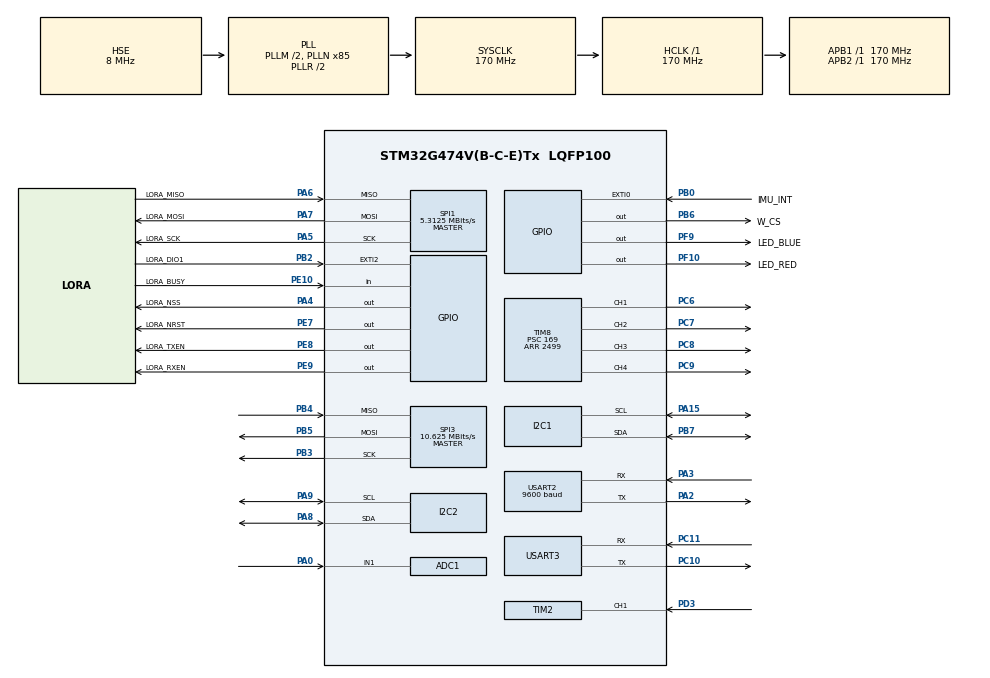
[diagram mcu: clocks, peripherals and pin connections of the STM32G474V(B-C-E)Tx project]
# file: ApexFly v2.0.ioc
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ADC1.Channel-0\#ChannelRegularConversion=ADC_CHANNEL_1
ADC1.NbrOfConversionFlag=1
ADC1.OffsetNumber-0\#ChannelRegularConversion=ADC_OFFSET_NONE
ADC1.Rank-0\#ChannelRegularConversion=1
ADC1.SamplingTime-0\#ChannelRegularConversion=ADC_SAMPLETIME_2CYCLES_5
ADC1.master=1
Dma.Request0=USART2_RX
Dma.USART2_RX.0.Direction=DMA_PERIPH_TO_MEMORY
Dma.USART2_RX.0.EventEnable=DISABLE
Dma.USART2_RX.0.Instance=DMA1_Channel1
Dma.USART2_RX.0.MemDataAlignment=DMA_MDATAALIGN_BYTE
Dma.USART2_RX.0.MemInc=DMA_MINC_ENABLE
Dma.USART2_RX.0.Mode=DMA_CIRCULAR
Dma.USART2_RX.0.PeriphDataAlignment=DMA_PDATAALIGN_BYTE
Dma.USART2_RX.0.PeriphInc=DMA_PINC_DISABLE
Dma.USART2_RX.0.Polarity=HAL_DMAMUX_REQ_GEN_RISING
Dma.USART2_RX.0.Priority=DMA_PRIORITY_HIGH
Dma.USART2_RX.0.RequestNumber=1
Dma.USART2_RX.0.SignalID=NONE
Dma.USART2_RX.0.SyncEnable=DISABLE
Dma.USART2_RX.0.SyncPolarity=HAL_DMAMUX_SYNC_NO_EVENT
Dma.USART2_RX.0.SyncRequestNumber=1
Dma.USART2_RX.0.SyncSignalID=NONE
FREERTOS.Tasks01=defaultTask,24,128,StartDefaultTask,Default,NULL,Dynamic,NULL,NULL;imuTestTask,24,512,StartImuTestTask,Default,NULL,Dynamic,NULL,NULL;motorTestTask,40,640,StartMotorTestTask,Default,NULL,Dynamic,NULL,NULL;ledTask,24,128,StartLedTask,Default,NULL,Dynamic,NULL,NULL;radioTask,32,512,StartRadioTask,Default,NULL,Dynamic,NULL,NULL;blackboxTask,16,768,StartBlackboxTask,Default,NULL,Dynamic,NULL,NULL;magtask,16,512,StartMagTask,Default,NULL,Dynamic,NULL,NULL;gpsTask,16,512,StartGpsTask,Default,NULL,Dynamic,NULL,NULL
FREERTOS.configCHECK_FOR_STACK_OVERFLOW=2
FREERTOS.configTOTAL_HEAP_SIZE=30720
I2C1.Timing=0x40621236
I2C2.Timing=0x40B285C2
Mcu.Family=STM32G4
Mcu.Name=STM32G474V(B-C-E)Tx
Mcu.Package=LQFP100
NVIC.DMA1_Channel1_IRQn=true\:5\:0\:false\:false\:true\:true\:false\:true\:true
NVIC.EXTI0_IRQn=true\:6\:0\:true\:false\:true\:false\:true\:true\:true
NVIC.EXTI2_IRQn=true\:6\:0\:true\:false\:true\:false\:true\:true\:true
NVIC.PriorityGroup=NVIC_PRIORITYGROUP_4
NVIC.TIM6_DAC_IRQn=true\:15\:0\:false\:false\:true\:false\:false\:true\:true
NVIC.TimeBase=TIM6_DAC_IRQn
NVIC.TimeBaseIP=TIM6
NVIC.USART2_IRQn=true\:6\:0\:true\:false\:true\:true\:true\:true\:true
PA0.Mode=IN1-Single-Ended
PA0.Signal=ADC1_IN1
PA13.Mode=Serial_Wire
PA13.Signal=SYS_JTMS-SWDIO
PA14.Mode=Serial_Wire
PA14.Signal=SYS_JTCK-SWCLK
PA15.Mode=I2C
PA15.Signal=I2C1_SCL
PA2.Mode=Asynchronous
PA2.Signal=USART2_TX
PA3.Mode=Asynchronous
PA3.Signal=USART2_RX
PA4.GPIO_Label=LORA_NSS
PA4.GPIO_Speed=GPIO_SPEED_FREQ_HIGH
PA4.PinState=GPIO_PIN_SET
PA4.Signal=GPIO_Output
PA5.GPIO_Label=LORA_SCK
PA5.GPIO_Speed=GPIO_SPEED_FREQ_HIGH
PA5.Mode=Full_Duplex_Master
PA5.Signal=SPI1_SCK
PA6.GPIO_Label=LORA_MISO
PA6.GPIO_Speed=GPIO_SPEED_FREQ_HIGH
PA6.Mode=Full_Duplex_Master
PA6.Signal=SPI1_MISO
PA7.GPIO_Label=LORA_MOSI
PA7.GPIO_Speed=GPIO_SPEED_FREQ_HIGH
PA7.Mode=Full_Duplex_Master
PA7.Signal=SPI1_MOSI
PA8.Mode=I2C
PA8.Signal=I2C2_SDA
PA9.Mode=I2C
PA9.Signal=I2C2_SCL
PB0.GPIO_Label=IMU_INT
PB0.Signal=GPXTI0
PB2.GPIO_Label=LORA_DIO1
PB2.Signal=GPXTI2
PB3.Mode=Full_Duplex_Master
PB3.Signal=SPI3_SCK
PB4.Mode=Full_Duplex_Master
PB4.Signal=SPI3_MISO
PB5.Mode=Full_Duplex_Master
PB5.Signal=SPI3_MOSI
PB6.GPIO_Label=W_CS
PB6.GPIO_Speed=GPIO_SPEED_FREQ_HIGH
PB6.PinState=GPIO_PIN_SET
PB6.Signal=GPIO_Output
PB7.Mode=I2C
PB7.Signal=I2C1_SDA
PC10.Mode=Asynchronous
PC10.Signal=USART3_TX
PC11.Mode=Asynchronous
PC11.Signal=USART3_RX
PC14-OSC32_IN.Mode=LSE-External-Oscillator
PC14-OSC32_IN.Signal=RCC_OSC32_IN
PC15-OSC32_OUT.Mode=LSE-External-Oscillator
PC15-OSC32_OUT.Signal=RCC_OSC32_OUT
PC6.Signal=S_TIM8_CH1
PC7.Signal=S_TIM8_CH2
PC8.Signal=S_TIM8_CH3
PC9.Signal=S_TIM8_CH4
PD3.Signal=S_TIM2_CH1
PE10.GPIO_Label=LORA_BUSY
PE10.Signal=GPIO_Input
PE7.GPIO_Label=LORA_NRST
PE7.PinState=GPIO_PIN_SET
PE7.Signal=GPIO_Output
PE8.GPIO_Label=LORA_TXEN
PE8.Signal=GPIO_Output
PE9.GPIO_Label=LORA_RXEN
PE9.Signal=GPIO_Output
PF0-OSC_IN.Mode=HSE-External-Oscillator
PF0-OSC_IN.Signal=RCC_OSC_IN
PF1-OSC_OUT.Mode=HSE-External-Oscillator
PF1-OSC_OUT.Signal=RCC_OSC_OUT
PF10.GPIO_Label=LED_RED
PF10.Signal=GPIO_Output
PF9.GPIO_Label=LED_BLUE
PF9.Signal=GPIO_Output
ProjectManager.HeapSize=0x200
ProjectManager.StackSize=0x400
ProjectManager.TargetToolchain=MDK-ARM V5.32
RCC.ADC12Freq_Value=170000000
RCC.ADC345Freq_Value=170000000
RCC.AHBFreq_Value=170000000
RCC.APB1Freq_Value=170000000
RCC.APB1TimFreq_Value=170000000
RCC.APB2Freq_Value=170000000
RCC.APB2TimFreq_Value=170000000
RCC.CortexFreq_Value=170000000
RCC.EXTERNAL_CLOCK_VALUE=12288000
RCC.HCLKFreq_Value=170000000
RCC.HSE_VALUE=8000000
RCC.HSI48_VALUE=48000000
RCC.HSI_VALUE=16000000
RCC.PLLM=RCC_PLLM_DIV2
RCC.PLLN=85
RCC.PLLSourceVirtual=RCC_PLLSOURCE_HSE
RCC.SYSCLKFreq_VALUE=170000000
RCC.SYSCLKSource=RCC_SYSCLKSOURCE_PLLCLK
RCC.USBFreq_Value=170000000
RCC.VCOOutputFreq_Value=340000000
SH.S_TIM2_CH1.0=TIM2_CH1,Input_Capture1_from_TI1
SH.S_TIM8_CH1.0=TIM8_CH1,PWM Generation1 CH1
SH.S_TIM8_CH2.0=TIM8_CH2,PWM Generation2 CH2
SH.S_TIM8_CH3.0=TIM8_CH3,PWM Generation3 CH3
SH.S_TIM8_CH4.0=TIM8_CH4,PWM Generation4 CH4
SPI1.BaudRatePrescaler=SPI_BAUDRATEPRESCALER_32
SPI1.CalculateBaudRate=5.3125 MBits/s
SPI1.DataSize=SPI_DATASIZE_8BIT
SPI1.Direction=SPI_DIRECTION_2LINES
SPI1.Mode=SPI_MODE_MASTER
SPI1.NSSPMode=SPI_NSS_PULSE_DISABLE
SPI1.VirtualType=VM_MASTER
SPI3.BaudRatePrescaler=SPI_BAUDRATEPRESCALER_16
SPI3.CalculateBaudRate=10.625 MBits/s
SPI3.DataSize=SPI_DATASIZE_8BIT
SPI3.Direction=SPI_DIRECTION_2LINES
SPI3.Mode=SPI_MODE_MASTER
SPI3.NSSPMode=SPI_NSS_PULSE_DISABLE
SPI3.VirtualType=VM_MASTER
TIM2.Channel-Input_Capture1_from_TI1=TIM_CHANNEL_1
TIM8.Channel-PWM\ Generation1\ CH1=TIM_CHANNEL_1
TIM8.Channel-PWM\ Generation2\ CH2=TIM_CHANNEL_2
TIM8.Channel-PWM\ Generation3\ CH3=TIM_CHANNEL_3
TIM8.Channel-PWM\ Generation4\ CH4=TIM_CHANNEL_4
TIM8.PeriodNoDither=2499
TIM8.Prescaler=169
TIM8.PulseNoDither_1=1000
TIM8.PulseNoDither_2=1000
TIM8.PulseNoDither_3=1000
TIM8.PulseNoDither_4=1000
USART2.BaudRate=9600
USART2.VirtualMode-Asynchronous=VM_ASYNC
USART3.VirtualMode-Asynchronous=VM_ASYNC
VP_FREERTOS_VS_CMSIS_V2.Mode=CMSIS_V2
VP_SYS_VS_DBSignals.Mode=DisableDeadBatterySignals
VP_SYS_VS_tim6.Mode=TIM6
VP_TIM2_VS_ClockSourceINT.Mode=Internal
VP_TIM8_VS_ClockSourceINT.Mode=Internal
board=custom

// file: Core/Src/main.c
/* USER CODE BEGIN Header */
/**
  ******************************************************************************
  * @file           : main.c
  * @brief          : Main program body
  ******************************************************************************
  * @attention
  *
  * Copyright (c) 2026 STMicroelectronics.
  * All rights reserved.
  *
  * This software is licensed under terms that can be found in the LICENSE file
  * in the root directory of this software component.
  * If no LICENSE file comes with this software, it is provided AS-IS.
  *
  ******************************************************************************
  */
/* USER CODE END Header */
#include "main.h"
#include "cmsis_os.h"
#include "adc.h"
#include "dma.h"
#include "i2c.h"
#include "spi.h"
#include "tim.h"
#include "usart.h"
#include "gpio.h"

void SystemClock_Config(void);
void MX_FREERTOS_Init(void);

int main(void)
{

  /* MCU Configuration--------------------------------------------------------*/

  /* Reset of all peripherals, Initializes the Flash interface and the Systick. */
  HAL_Init();

  /* Configure the system clock */
  SystemClock_Config();

  /* Initialize all configured peripherals */
  MX_GPIO_Init();
  MX_DMA_Init();
  MX_ADC1_Init();
  MX_I2C1_Init();
  MX_I2C2_Init();
  MX_SPI1_Init();
  MX_SPI3_Init();
  MX_TIM2_Init();
  MX_TIM8_Init();
  MX_USART2_UART_Init();
  MX_USART3_UART_Init();
  /* USER CODE BEGIN 2 */
  /* TIM8 是高级定时器，开 PWM 前先使能主输出，并写成 1000us，避免电调上电看到空脉宽。 */
  __HAL_TIM_SET_COMPARE(&htim8, TIM_CHANNEL_1, 1000);
  __HAL_TIM_SET_COMPARE(&htim8, TIM_CHANNEL_2, 1000);
  __HAL_TIM_SET_COMPARE(&htim8, TIM_CHANNEL_3, 1000);
  __HAL_TIM_SET_COMPARE(&htim8, TIM_CHANNEL_4, 1000);
  __HAL_TIM_MOE_ENABLE(&htim8);
  (void)HAL_TIM_PWM_Start(&htim8, TIM_CHANNEL_1);
  (void)HAL_TIM_PWM_Start(&htim8, TIM_CHANNEL_2);
  (void)HAL_TIM_PWM_Start(&htim8, TIM_CHANNEL_3);
  (void)HAL_TIM_PWM_Start(&htim8, TIM_CHANNEL_4);
  /* USER CODE END 2 */

  /* Init scheduler */
  osKernelInitialize();  /* Call init function for freertos objects (in cmsis_os2.c) */
  MX_FREERTOS_Init();

  /* Start scheduler */
  osKernelStart();

  /* We should never get here as control is now taken by the scheduler */

  /* Infinite loop */
  while (1)
  {

  }
}

void SystemClock_Config(void)
{
  RCC_OscInitTypeDef RCC_OscInitStruct = {0};
  RCC_ClkInitTypeDef RCC_ClkInitStruct = {0};

  /** Configure the main internal regulator output voltage
  */
  HAL_PWREx_ControlVoltageScaling(PWR_REGULATOR_VOLTAGE_SCALE1_BOOST);

  /** Initializes the RCC Oscillators according to the specified parameters
  * in the RCC_OscInitTypeDef structure.
  */
  RCC_OscInitStruct.OscillatorType = RCC_OSCILLATORTYPE_HSE;
  RCC_OscInitStruct.HSEState = RCC_HSE_ON;
  RCC_OscInitStruct.PLL.PLLState = RCC_PLL_ON;
  RCC_OscInitStruct.PLL.PLLSource = RCC_PLLSOURCE_HSE;
  RCC_OscInitStruct.PLL.PLLM = RCC_PLLM_DIV2;
  RCC_OscInitStruct.PLL.PLLN = 85;
  RCC_OscInitStruct.PLL.PLLP = RCC_PLLP_DIV2;
  RCC_OscInitStruct.PLL.PLLQ = RCC_PLLQ_DIV2;
  RCC_OscInitStruct.PLL.PLLR = RCC_PLLR_DIV2;
  if (HAL_RCC_OscConfig(&RCC_OscInitStruct) != HAL_OK)
  {
    Error_Handler();
  }

  /** Initializes the CPU, AHB and APB buses clocks
  */
  RCC_ClkInitStruct.ClockType = RCC_CLOCKTYPE_HCLK|RCC_CLOCKTYPE_SYSCLK
                              |RCC_CLOCKTYPE_PCLK1|RCC_CLOCKTYPE_PCLK2;
  RCC_ClkInitStruct.SYSCLKSource = RCC_SYSCLKSOURCE_PLLCLK;
  RCC_ClkInitStruct.AHBCLKDivider = RCC_SYSCLK_DIV1;
  RCC_ClkInitStruct.APB1CLKDivider = RCC_HCLK_DIV1;
  RCC_ClkInitStruct.APB2CLKDivider = RCC_HCLK_DIV1;

  if (HAL_RCC_ClockConfig(&RCC_ClkInitStruct, FLASH_LATENCY_4) != HAL_OK)
  {
    Error_Handler();
  }
}

void HAL_TIM_PeriodElapsedCallback(TIM_HandleTypeDef *htim)
{
  if (htim->Instance == TIM6)
  {
    HAL_IncTick();
  }
}

void Error_Handler(void)
{
  __disable_irq();
  while (1)
  {
  }
}

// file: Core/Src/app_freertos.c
/* USER CODE BEGIN Header */
/**
  ******************************************************************************
  * File Name          : app_freertos.c
  * Description        : Code for freertos applications
  ******************************************************************************
  * @attention
  *
  * Copyright (c) 2026 STMicroelectronics.
  * All rights reserved.
  *
  * This software is licensed under terms that can be found in the LICENSE file
  * in the root directory of this software component.
  * If no LICENSE file comes with this software, it is provided AS-IS.
  *
  ******************************************************************************
  */
/* USER CODE END Header */

#include "FreeRTOS.h"
#include "task.h"
#include "main.h"
#include "cmsis_os.h"

/* USER CODE BEGIN Includes */
#include "apex_config.h"
#include "debug.h"
#include "flow.h"
#include "i2c.h"
#include "imu_attitude.h"
#include "imu_bias.h"
#include "led.h"
#include "motor_test.h"
#include "mpu6050.h"
#include "blackbox.h"
#include "gps.h"
#include "i2c2_lock.h"
#include "mag.h"
#include "radio.h"
#include "tof.h"
/* USER CODE END Includes */

/* USER CODE BEGIN Variables */
/* ── 光流任务（2026-09-18，OF1~OF5）────────────────────────────
   与 tofTask / magtask 同级（BelowNormal）：它只收字节、数数、标零点，
   **不参与任何控制**，优先级不该高于任何人。
   栈 384 词：调用链很浅（解析器 + 一次结构体拷贝），留足余量。
   ⚠️ 放在 USER CODE 区里，CubeMX 重新生成不会清掉。 */
osThreadId_t flowTaskHandle;
const osThreadAttr_t flowTask_attributes = {
  .name = "flowTask",
  .priority = (osPriority_t) osPriorityBelowNormal,
  .stack_size = 384 * 4
};
/* USER CODE END Variables */
/* Definitions for defaultTask */
osThreadId_t defaultTaskHandle;
const osThreadAttr_t defaultTask_attributes = {
  .name = "defaultTask",
  .priority = (osPriority_t) osPriorityNormal,
  .stack_size = 128 * 4
};
/* Definitions for motorTestTask */
osThreadId_t motorTestTaskHandle;
const osThreadAttr_t motorTestTask_attributes = {
  .name = "motorTestTask",
  .priority = (osPriority_t) osPriorityHigh,
  .stack_size = 640 * 4
};
/* Definitions for ledTask */
osThreadId_t ledTaskHandle;
const osThreadAttr_t ledTask_attributes = {
  .name = "ledTask",
  .priority = (osPriority_t) osPriorityNormal,
  .stack_size = 128 * 4
};
/* Definitions for radioTask */
osThreadId_t radioTaskHandle;
const osThreadAttr_t radioTask_attributes = {
  .name = "radioTask",
  .priority = (osPriority_t) osPriorityAboveNormal,
  .stack_size = 512 * 4
};
/* Definitions for blackboxTask */
osThreadId_t blackboxTaskHandle;
const osThreadAttr_t blackboxTask_attributes = {
  .name = "blackboxTask",
  .priority = (osPriority_t) osPriorityBelowNormal,
  .stack_size = 768 * 4
};
/* Definitions for magtask */
osThreadId_t magtaskHandle;
const osThreadAttr_t magtask_attributes = {
  .name = "magtask",
  .priority = (osPriority_t) osPriorityBelowNormal,
  .stack_size = 512 * 4
};
/* Definitions for gpsTask */
osThreadId_t gpsTaskHandle;
const osThreadAttr_t gpsTask_attributes = {
  .name = "gpsTask",
  .priority = (osPriority_t) osPriorityBelowNormal,
  .stack_size = 512 * 4
};
/* Definitions for tofTask */
osThreadId_t tofTaskHandle;
const osThreadAttr_t tofTask_attributes = {
  .name = "tofTask",
  /* 与 magtask 同级：两者共用 I2C2，同级 + 每拍让出 CPU，避免任何一方被饿死。 */
  .priority = (osPriority_t) osPriorityBelowNormal,
  .stack_size = 512 * 4
};

/* USER CODE BEGIN FunctionPrototypes */
void StartFlowTask(void *argument);
/* USER CODE END FunctionPrototypes */

void StartDefaultTask(void *argument);
void StartMotorTestTask(void *argument);
void StartLedTask(void *argument);
void StartRadioTask(void *argument);
void StartBlackboxTask(void *argument);
void StartMagTask(void *argument);
void StartGpsTask(void *argument);
void StartTofTask(void *argument);

void MX_FREERTOS_Init(void); /* (MISRA C 2004 rule 8.1) */

/* Hook prototypes */
void vApplicationStackOverflowHook(xTaskHandle xTask, signed char *pcTaskName);

/* USER CODE BEGIN 4 */
void vApplicationStackOverflowHook(xTaskHandle xTask, signed char *pcTaskName)
{
   /* 栈溢出时停住调度，并让红灯常亮、蓝灯熄灭，方便面板直接看出异常。 */
   (void)xTask;
   (void)pcTaskName;
   taskDISABLE_INTERRUPTS();
   HAL_GPIO_WritePin(LED_BLUE_GPIO_Port, LED_BLUE_Pin, GPIO_PIN_RESET);
   HAL_GPIO_WritePin(LED_RED_GPIO_Port, LED_RED_Pin, GPIO_PIN_SET);
   for (;;)
   {
   }
}
/* USER CODE END 4 */

void MX_FREERTOS_Init(void) {

  /* USER CODE BEGIN RTOS_MUTEX */
  I2C2_Lock_Init();
  /* USER CODE END RTOS_MUTEX */

  /* Create the thread(s) */
  /* creation of defaultTask */
  defaultTaskHandle = osThreadNew(StartDefaultTask, NULL, &defaultTask_attributes);

  /* creation of motorTestTask */
  motorTestTaskHandle = osThreadNew(StartMotorTestTask, NULL, &motorTestTask_attributes);

  /* creation of ledTask */
  ledTaskHandle = osThreadNew(StartLedTask, NULL, &ledTask_attributes);

  /* creation of radioTask */
  radioTaskHandle = osThreadNew(StartRadioTask, NULL, &radioTask_attributes);

  /* creation of blackboxTask */
  blackboxTaskHandle = osThreadNew(StartBlackboxTask, NULL, &blackboxTask_attributes);

  /* creation of magtask */
  magtaskHandle = osThreadNew(StartMagTask, NULL, &magtask_attributes);

  /* creation of gpsTask */
  /* ⚠️ 下面这个 #if 是**手工加**的，而且它**不在 USER CODE 区里**：
     USART2 同一时刻只能归一个人用，接了光流就不能再建 GPS 任务，
     否则两边抢同一个 DMA 通道（现象是 [OF] 的 n 一直是 0）。
     ⇒ CubeMX 重新生成会让这个 #if 消失，生成完必须回来补。
     见 Core/Inc/apex_config.h。 */
#if !APEX_UART2_ROLE_FLOW
  gpsTaskHandle = osThreadNew(StartGpsTask, NULL, &gpsTask_attributes);
#endif

  /* creation of tofTask */
  tofTaskHandle = osThreadNew(StartTofTask, NULL, &tofTask_attributes);

  /* USER CODE BEGIN RTOS_THREADS */
#if APEX_UART2_ROLE_FLOW
  /* creation of flowTask：USART2 归光流时才建（见 Core/Inc/apex_config.h）。 */
  flowTaskHandle = osThreadNew(StartFlowTask, NULL, &flowTask_attributes);
#else
  /* USART2 归 GPS：光流任务不建，省下一份栈。 */
#endif
  /* USER CODE END RTOS_THREADS */

}

void StartDefaultTask(void *argument)
{
  /* USER CODE BEGIN StartDefaultTask */
  (void)argument;
  /* Infinite loop */
  for(;;)
  {
    osDelay(1);
  }
  /* USER CODE END StartDefaultTask */
}

/* USER CODE BEGIN Header_StartMotorTestTask */
/**
  * @brief  遥控油门跟杆任务。
  *         电调解锁并采完零偏后，按 control_link 快照输出油门。
  *         测试前必须拆桨。
  * @param  argument: Not used
  * @retval None
  */
/* USER CODE END Header_StartMotorTestTask */
void StartMotorTestTask(void *argument)
{
  /* USER CODE BEGIN StartMotorTestTask */
  MotorTest_Task(argument);
  /* USER CODE END StartMotorTestTask */
}

/* USER CODE BEGIN Header_StartLedTask */
/**
  * @brief  LED 心跳任务。
  *         蓝灯 PF9 和红灯 PF10 每秒翻转一次，用来确认 FreeRTOS 正在运行。
  * @param  argument: Not used
  * @retval None
  */
/* USER CODE END Header_StartLedTask */
void StartLedTask(void *argument)
{
  /* USER CODE BEGIN StartLedTask */
  Led_Task(argument);
  /* USER CODE END StartLedTask */
}

/* USER CODE BEGIN Header_StartRadioTask */
/**
  * @brief  LoRa 电台任务。
  *         收遥控控制帧，写入 control_link，立刻回遥测。不写 TIM8。
  * @param  argument: Not used
  * @retval None
  */
/* USER CODE END Header_StartRadioTask */
void StartRadioTask(void *argument)
{
  /* USER CODE BEGIN StartRadioTask */
  Radio_Task(argument);
  /* USER CODE END StartRadioTask */
}

void StartBlackboxTask(void *argument)
{
  /* USER CODE BEGIN StartBlackboxTask */
  Blackbox_Task(argument);
  /* USER CODE END StartBlackboxTask */
}

/* USER CODE BEGIN Header_StartMagTask */
/**
  * @brief  磁力计任务。I2C2 读 GY-273，只发布磁场快照，不进姿态环。
  * @param  argument: Not used
  * @retval None
  */
/* USER CODE END Header_StartMagTask */
void StartMagTask(void *argument)
{
  /* USER CODE BEGIN StartMagTask */
  Mag_Task(argument);
  /* USER CODE END StartMagTask */
}

/* USER CODE BEGIN Header_StartGpsTask */
/**
  * @brief  GPS 任务。独占 USART2 上的 ATGM336H，解析 NMEA，给黑匣子提供 UTC 时间。
  * @param  argument: Not used
  * @retval None
  */
/* USER CODE END Header_StartGpsTask */
void StartGpsTask(void *argument)
{
  /* USER CODE BEGIN StartGpsTask */
  GPS_Task(argument);
  /* USER CODE END StartGpsTask */
}

/* USER CODE BEGIN Header_StartTofTask */
/**
  * @brief  激光测距任务。I2C2 上与磁力计共用总线，只发布距离快照，不参与控制。
  * @param  argument: Not used
  * @retval None
  */
/* USER CODE END Header_StartTofTask */
void StartTofTask(void *argument)
{
  /* USER CODE BEGIN StartTofTask */
  ToF_Task(argument);
  /* USER CODE END StartTofTask */
}

/* USER CODE BEGIN Application */
/**
  * @brief  光流任务（2026-09-18，OF1~OF5）。
  *         收 CX-OF 的串口帧、判有效性、标零点、累积流量。
  *         ⚠️ 本阶段**不接任何控制**，唯一出口是 tof.c 里那行 [OF] 打印。
  * @param  argument: Not used
  * @retval None
  */
void StartFlowTask(void *argument)
{
  /* USER CODE BEGIN StartFlowTask */
  Flow_Task(argument);
  /* USER CODE END StartFlowTask */
}
/* USER CODE END Application */
